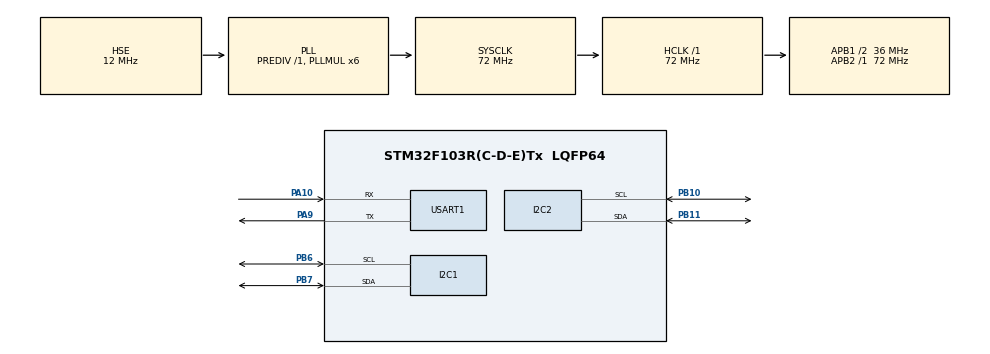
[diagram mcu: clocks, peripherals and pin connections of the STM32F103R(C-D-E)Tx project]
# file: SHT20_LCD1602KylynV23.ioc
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Mcu.Family=STM32F1
Mcu.Name=STM32F103R(C-D-E)Tx
Mcu.Package=LQFP64
NVIC.PriorityGroup=NVIC_PRIORITYGROUP_4
PA10.Mode=Asynchronous
PA10.Signal=USART1_RX
PA13.Mode=Serial_Wire
PA13.Signal=SYS_JTMS-SWDIO
PA14.Mode=Serial_Wire
PA14.Signal=SYS_JTCK-SWCLK
PA9.Mode=Asynchronous
PA9.Signal=USART1_TX
PB10.Mode=I2C
PB10.Signal=I2C2_SCL
PB11.Mode=I2C
PB11.Signal=I2C2_SDA
PB6.Mode=I2C
PB6.Signal=I2C1_SCL
PB7.Mode=I2C
PB7.Signal=I2C1_SDA
PD0-OSC_IN.Mode=HSE-External-Oscillator
PD0-OSC_IN.Signal=RCC_OSC_IN
PD1-OSC_OUT.Mode=HSE-External-Oscillator
PD1-OSC_OUT.Signal=RCC_OSC_OUT
ProjectManager.HeapSize=0x200
ProjectManager.StackSize=0x400
ProjectManager.TargetToolchain=SW4STM32
RCC.AHBFreq_Value=72000000
RCC.APB1CLKDivider=RCC_HCLK_DIV2
RCC.APB1Freq_Value=36000000
RCC.APB1TimFreq_Value=72000000
RCC.APB2Freq_Value=72000000
RCC.APB2TimFreq_Value=72000000
RCC.HCLKFreq_Value=72000000
RCC.HSE_VALUE=12000000
RCC.PLLMUL=RCC_PLL_MUL6
RCC.PLLSourceVirtual=RCC_PLLSOURCE_HSE
RCC.SYSCLKFreq_VALUE=72000000
RCC.SYSCLKSource=RCC_SYSCLKSOURCE_PLLCLK
RCC.USBFreq_Value=72000000
USART1.VirtualMode=VM_ASYNC
board=SHT20_LCD1602KylynV23

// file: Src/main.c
/**
  ******************************************************************************
  * @file           : main.c
  * @brief          : Main program body
  ******************************************************************************
  ** This notice applies to any and all portions of this file
  * that are not between comment pairs USER CODE BEGIN and
  * USER CODE END. Other portions of this file, whether
  * inserted by the user or by software development tools
  * are owned by their respective copyright owners.
  *
  * COPYRIGHT(c) 2018 STMicroelectronics
  *
  * Redistribution and use in source and binary forms, with or without modification,
  * are permitted provided that the following conditions are met:
  *   1. Redistributions of source code must retain the above copyright notice,
  *      this list of conditions and the following disclaimer.
  *   2. Redistributions in binary form must reproduce the above copyright notice,
  *      this list of conditions and the following disclaimer in the documentation
  *      and/or other materials provided with the distribution.
  *   3. Neither the name of STMicroelectronics nor the names of its contributors
  *      may be used to endorse or promote products derived from this software
  *      without specific prior written permission.
  *
  * THIS SOFTWARE IS PROVIDED BY THE COPYRIGHT HOLDERS AND CONTRIBUTORS "AS IS"
  * AND ANY EXPRESS OR IMPLIED WARRANTIES, INCLUDING, BUT NOT LIMITED TO, THE
  * IMPLIED WARRANTIES OF MERCHANTABILITY AND FITNESS FOR A PARTICULAR PURPOSE ARE
  * DISCLAIMED. IN NO EVENT SHALL THE COPYRIGHT HOLDER OR CONTRIBUTORS BE LIABLE
  * FOR ANY DIRECT, INDIRECT, INCIDENTAL, SPECIAL, EXEMPLARY, OR CONSEQUENTIAL
  * DAMAGES (INCLUDING, BUT NOT LIMITED TO, PROCUREMENT OF SUBSTITUTE GOODS OR
  * SERVICES; LOSS OF USE, DATA, OR PROFITS; OR BUSINESS INTERRUPTION) HOWEVER
  * CAUSED AND ON ANY THEORY OF LIABILITY, WHETHER IN CONTRACT, STRICT LIABILITY,
  * OR TORT (INCLUDING NEGLIGENCE OR OTHERWISE) ARISING IN ANY WAY OUT OF THE USE
  * OF THIS SOFTWARE, EVEN IF ADVISED OF THE POSSIBILITY OF SUCH DAMAGE.
  *
  ******************************************************************************
  */
#include "main.h"
#include "stm32f1xx_hal.h"
#include "i2c.h"
#include "usart.h"
#include "gpio.h"

/* USER CODE BEGIN Includes */
/*
 * To support float in printf(), need to change the following setting in system workbench(Eclipse):
 * project properties > C/C++ Build > Settings > Tool Settings (TAB) > MCU GCC Linker > Miscellaneous > Linker flags

  change "-specs=nosys.specs -specs=nano.specs" to "-specs=nosys.specs -specs=nano.specs -u _printf_float"
 *
 * */
#include "sht20.h"
#include "i2clcd.h"
#include "math.h" //pow（）需要这个库
/* USER CODE END Includes */

/* USER CODE BEGIN PV */
char t2;
char t1;
char tdec;
char rh2;
char rh1;
char rhdec;
/* Private variables ---------------------------------------------------------*/

/* USER CODE END PV */

void SystemClock_Config(void);

/* USER CODE BEGIN PFP */
/* Private function prototypes -----------------------------------------------*/
#ifdef __GNUC__
#define PUTCHAR_PROTOTYPE int __io_putchar(int ch)
#else
#define PUTCHAR_PROTOTYPE int fputc(int ch, FILE *f)
#endif

int getDigits(float d, int digits) //提取float的每位数字
{
int tempint = (int)(d / pow(10.0, digits - 1));
return (tempint % 10);
}
/* USER CODE END PFP */

/* USER CODE BEGIN 0 */
PUTCHAR_PROTOTYPE {
	HAL_UART_Transmit(&huart1, (uint8_t *) &ch, 1, 0xFFFF);
	return ch;
}
/* USER CODE END 0 */

int main(void)
{

  /* MCU Configuration----------------------------------------------------------*/

  /* Reset of all peripherals, Initializes the Flash interface and the Systick. */
  HAL_Init();

  /* Configure the system clock */
  SystemClock_Config();

  /* Initialize all configured peripherals */
  MX_GPIO_Init();
  MX_USART1_UART_Init();
  MX_I2C1_Init();
  MX_I2C2_Init();
  /* USER CODE BEGIN 2 */
	lcd_init();
	lcd_clear();
	lcd_setCursor(1,0);
	lcd_send_string ("SHT20 LCD I2C Test");
	lcd_setCursor(2,1);
	lcd_send_string ("Author: SimonLiu");
	HAL_Delay(3000);
	lcd_clear();
	lcd_setCursor(0,0);
	lcd_send_string("Temp:");
	lcd_setCursor(0,1);
	lcd_send_string("RH:");
	HAL_Delay(1000);
	printf("\r\n Turning off backlight...\r\n");
	lcd_noBacklight();
	HAL_Delay(2000);
	printf("\r\n Turning ON backlight...\r\n");
	lcd_backlight();
	/* USER CODE END 2 */

  /* Infinite loop */
  while (1)
  {

  /* USER CODE BEGIN 3 */

		SHT20_GetValue();
		printf( "Temperature:%0.1fC,  Humidity:%0.1f%%\r\n", sht20_info.tempreture, sht20_info.humidity);

		t2 = getDigits(sht20_info.tempreture,2) + 48; //48 (or 0x30) is the ASCII code for 0.
		t1 = getDigits(sht20_info.tempreture,1) + 48;
		tdec = getDigits(sht20_info.tempreture,0) + 48;

		rh2 = getDigits(sht20_info.humidity,2) + 48;
		rh1 = getDigits(sht20_info.humidity,1) + 48;
		rhdec = getDigits(sht20_info.humidity,0) + 48;

		lcd_setCursor(6,0);
		lcd_send_data (t2);
		lcd_send_data (t1);
		lcd_send_data ('.');
		lcd_send_data (tdec);
		lcd_send_string ("C");

		lcd_setCursor(6,1);
		lcd_send_data (rh2);
		lcd_send_data (rh1);
		lcd_send_data ('.');
		lcd_send_data (rhdec);
		lcd_send_string ("%");

		HAL_Delay(1000);

  }
  /* USER CODE END 3 */

}

void SystemClock_Config(void)
{

  RCC_OscInitTypeDef RCC_OscInitStruct;
  RCC_ClkInitTypeDef RCC_ClkInitStruct;

    /**Initializes the CPU, AHB and APB busses clocks
    */
  RCC_OscInitStruct.OscillatorType = RCC_OSCILLATORTYPE_HSE;
  RCC_OscInitStruct.HSEState = RCC_HSE_ON;
  RCC_OscInitStruct.HSEPredivValue = RCC_HSE_PREDIV_DIV1;
  RCC_OscInitStruct.HSIState = RCC_HSI_ON;
  RCC_OscInitStruct.PLL.PLLState = RCC_PLL_ON;
  RCC_OscInitStruct.PLL.PLLSource = RCC_PLLSOURCE_HSE;
  RCC_OscInitStruct.PLL.PLLMUL = RCC_PLL_MUL6;
  if (HAL_RCC_OscConfig(&RCC_OscInitStruct) != HAL_OK)
  {
    _Error_Handler(__FILE__, __LINE__);
  }

    /**Initializes the CPU, AHB and APB busses clocks
    */
  RCC_ClkInitStruct.ClockType = RCC_CLOCKTYPE_HCLK|RCC_CLOCKTYPE_SYSCLK
                              |RCC_CLOCKTYPE_PCLK1|RCC_CLOCKTYPE_PCLK2;
  RCC_ClkInitStruct.SYSCLKSource = RCC_SYSCLKSOURCE_PLLCLK;
  RCC_ClkInitStruct.AHBCLKDivider = RCC_SYSCLK_DIV1;
  RCC_ClkInitStruct.APB1CLKDivider = RCC_HCLK_DIV2;
  RCC_ClkInitStruct.APB2CLKDivider = RCC_HCLK_DIV1;

  if (HAL_RCC_ClockConfig(&RCC_ClkInitStruct, FLASH_LATENCY_2) != HAL_OK)
  {
    _Error_Handler(__FILE__, __LINE__);
  }

    /**Configure the Systick interrupt time
    */
  HAL_SYSTICK_Config(HAL_RCC_GetHCLKFreq()/1000);

    /**Configure the Systick
    */
  HAL_SYSTICK_CLKSourceConfig(SYSTICK_CLKSOURCE_HCLK);

  /* SysTick_IRQn interrupt configuration */
  HAL_NVIC_SetPriority(SysTick_IRQn, 0, 0);
}

void _Error_Handler(char *file, int line)
{
  while(1)
  {
  }
}

/************************ (C) COPYRIGHT STMicroelectronics *****END OF FILE****/
